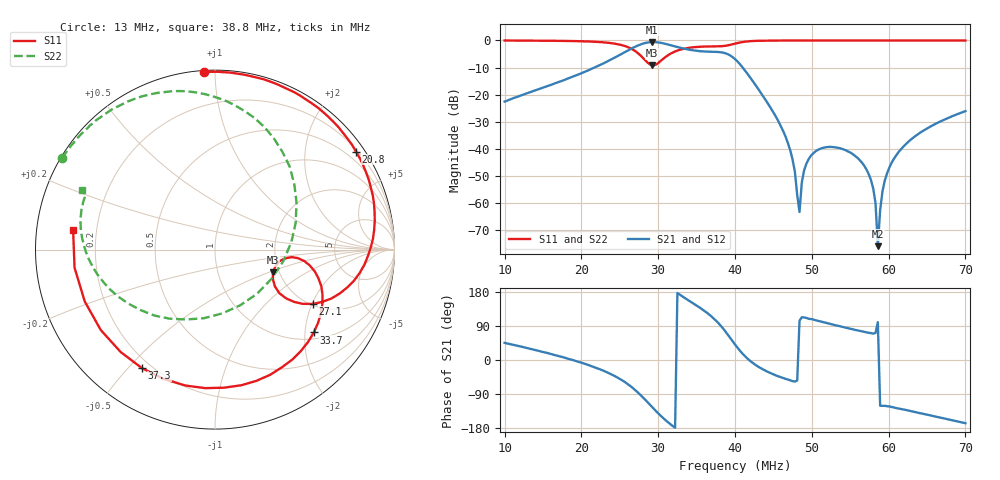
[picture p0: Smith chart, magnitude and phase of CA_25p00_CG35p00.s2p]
#  HZ  S  RI  R  50.00
! Rohde & Schwarz ZVT8 8Ports - Version 4.11 - 1300.0000k08 SN: 100242
! Date: 2026-07-31 14:31:38
! Measurements: S11 S21 S12 S22
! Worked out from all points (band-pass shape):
!   201 points, 10 MHz to 70 MHz, reference 50 ohm
!   highest |S21| = -0.60 dB at 29.2 MHz (marker M1); lowest = -75.8 dB at 58.6 MHz (marker M2)
!   |S21| within 3 dB of the highest: 26.13 MHz to 34.43 MHz (8.306 MHz wide, 27.4 % of centre)
!   lowest |S11| = -9.2 dB at 29.2 MHz (marker M3), VSWR 2.06, Z = 92.6 - j26.4 ohm
!   |S11| at or under -10 dB: nowhere
!   |S22| runs from -9.4 to 0.0 dB; largest |S21 - S12| = 0.0037
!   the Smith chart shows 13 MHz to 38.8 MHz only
!   S11 on the Smith chart (normalised r, x): 13 MHz: 0.01, +0.94; 20.8 MHz: 0.25, +3.18; 27.1 MHz: 2.05, -2.03; 33.7 MHz: 1.17, -2.22; 37.3 MHz: 0.16, -0.55; 38.8 MHz: 0.11, +0.07
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1e7  -0.4049 0.9103  0.0526 0.053  0.0525 0.0531  -0.9171 0.3892
1.3e7  -0.059 0.9894  0.0917 0.0554  0.0914 0.0554  -0.8517 0.5097
2.02e7  0.739 0.6173  0.2527 -0.0375  0.252 -0.0371  -0.5358 0.8
2.08e7  0.7855 0.5455  0.2708 -0.0595  0.2708 -0.0593  -0.4894 0.8241
2.71e7  0.545 -0.3026  0.1209 -0.7655  0.1202 -0.7654  0.4163 0.4625
2.92e7  0.3221 -0.1256  -0.5218 -0.7743  -0.5217 -0.7715  0.2346 -0.2457
3.01e7  0.3899 -0.049  -0.7282 -0.5544  -0.7261 -0.5537  -0.0614 -0.3823
3.37e7  0.5506 -0.4617  -0.6491 0.2289  -0.6501 0.2277  -0.7195 -0.0121
3.73e7  -0.4059 -0.6612  -0.191 0.5848  -0.1919 0.5851  -0.7259 0.291
3.88e7  -0.7906 0.11  0.1594 0.5551  0.1576 0.5551  -0.7406 0.3346
4e7  -0.2726 0.8291  0.3422 0.2972  0.3421 0.2968  -0.7908 0.4038
4.27e7  0.956 0.2153  0.1448 -0.0345  0.1445 -0.0343  -0.7515 0.6402
4.69e7  0.634 -0.7687  0.00789 -0.00994  0.00785 -0.01  -0.5656 0.8222
4.84e7  0.4124 -0.9078  -0.000164 0.000671  -6.99e-05 0.000581  -0.5021 0.8616
4.9e7  0.3219 -0.9445  -0.00153 0.00374  -0.00159 0.00376  -0.4774 0.8752
5.02e7  0.1442 -0.987  -0.00241 0.00798  -0.00241 0.00798  -0.4284 0.9007
5.68e7  -0.6709 -0.7382  0.00134 0.00479  0.00136 0.00478  -0.1623 0.9831
5.8e7  -0.7727 -0.6305  0.000654 0.00175  0.000634 0.00175  -0.114 0.9913
5.86e7  -0.8176 -0.5732  -2.74e-05 0.00016  -4.72e-06 0.000164  -0.0906 0.9928
5.92e7  -0.8568 -0.511  -0.000842 -0.00141  -0.000841 -0.00142  -0.0664 0.9953
6.01e7  -0.9051 -0.4158  -0.00244 -0.00385  -0.00244 -0.00384  -0.0306 0.9966
7e7  -0.7397 0.6662  -0.0485 -0.0114  -0.0483 -0.0114  0.3595 0.9287
